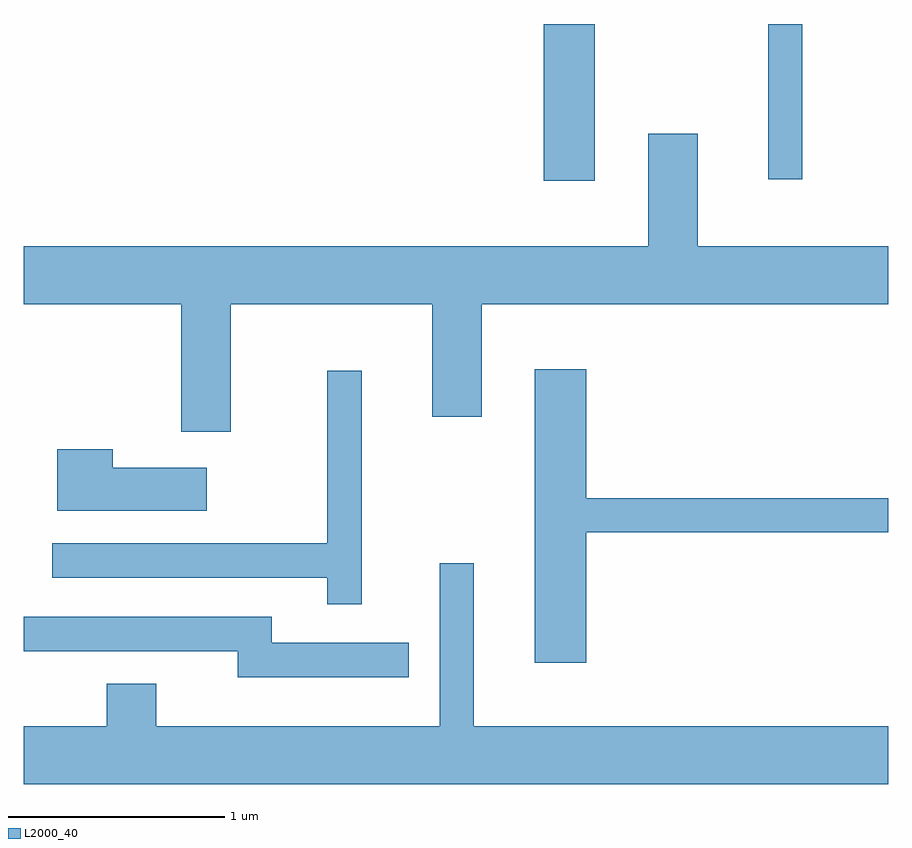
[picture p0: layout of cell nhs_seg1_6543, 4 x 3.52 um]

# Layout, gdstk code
import gdstk
lib = gdstk.Library(unit=1e-6, precision=1e-09)
def R(c, l, rs):  # rectangles x0, y0, x1, y1
    for r in rs: c.add(gdstk.rectangle(r[:2], r[2:], *l))
def P(c, l, *ps):  # polygons
    for p in ps: c.add(gdstk.Polygon(p, *l))
L2000_40 = (2000, 40)

nhs_seg1_6543 = lib.new_cell('nhs_seg1_6543')
R(nhs_seg1_6543, L2000_40, [(384.016,948.986,384.254,949.712), (385.056,948.993,385.214,949.712)])
P(nhs_seg1_6543, L2000_40, [(381.611,948.416),(382.341,948.416),(382.341,947.826),(382.569,947.826),(382.569,948.416),(383.501,948.416),(383.501,947.896),(383.729,947.896),(383.729,948.416),(385.611,948.416),(385.611,948.684),(384.729,948.684),(384.729,949.204),(384.501,949.204),(384.501,948.684),(381.611,948.684)],
  [(384.214,947.361),(385.611,947.361),(385.611,947.519),(384.214,947.519),(384.214,948.114),(383.976,948.114),(383.976,946.756),(384.214,946.756)],
  [(383.174,948.108),(383.016,948.108),(383.016,947.309),(381.743,947.309),(381.743,947.151),(383.016,947.151),(383.016,947.028),(383.174,947.028)],
  [(382.459,947.659),(382.024,947.659),(382.024,947.744),(381.766,947.744),(381.766,947.461),(382.459,947.461)],
  [(385.611,946.464),(383.694,946.464),(383.694,947.218),(383.536,947.218),(383.536,946.464),(382.224,946.464),(382.224,946.659),(381.996,946.659),(381.996,946.464),(381.611,946.464),(381.611,946.196),(385.611,946.196)],
  [(383.393,946.849),(382.759,946.849),(382.759,946.969),(381.611,946.969),(381.611,946.811),(382.601,946.811),(382.601,946.691),(383.393,946.691)])

lib.write_gds('nhs_seg1_6543.gds')
